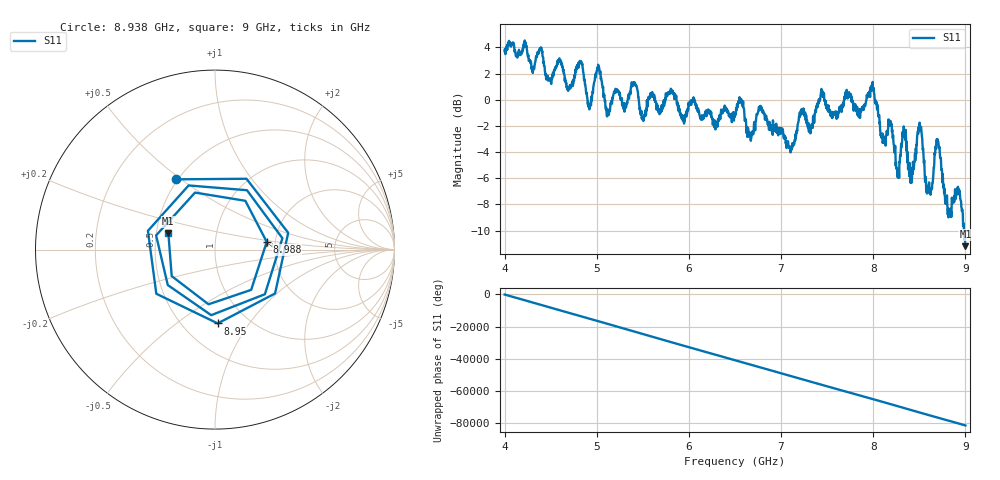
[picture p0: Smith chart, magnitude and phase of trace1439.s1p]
! Created with skrf 1.8.0 (http://scikit-rf.org).
# Hz S RI R 50.0
!freq ReS11 ImS11
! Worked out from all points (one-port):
!   1601 points, 4 GHz to 9 GHz, reference 50 ohm
!   lowest |S11| = -11.2 dB at 9 GHz (marker M1), VSWR 1.76, Z = 29 + j5.75 ohm
!   |S11| at or under -10 dB: 8.984529 GHz to end of sweep
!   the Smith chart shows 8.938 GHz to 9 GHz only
!   S11 on the Smith chart (normalised r, x): 8.938 GHz: 0.49, +0.48; 8.95 GHz: 0.73, -0.72; 8.988 GHz: 1.80, +0.17; 9 GHz: 0.58, +0.12
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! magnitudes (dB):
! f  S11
! 4 GHz  3.7
! 4.625 GHz  2.5
! 4.697 GHz  0.9
! 4.825 GHz  2.9
! 4.922 GHz  -0.6
! 5.012 GHz  2.4
! 5.119 GHz  -1.1
! 5.25 GHz  0.5
! 5.875 GHz  -0.2
! 6.5 GHz  -1.2
! 7.125 GHz  -3.5
! 7.441 GHz  0.5
! 7.75 GHz  0.4
! 7.988 GHz  0.8
! 8.103 GHz  -3.3
! 8.191 GHz  -1.8
! 8.262 GHz  -5.6
! 8.328 GHz  -2.8
! 8.375 GHz  -4.3
! 8.425 GHz  -5.2
! 8.506 GHz  -2.2
! 8.6 GHz  -7.0
! 8.697 GHz  -3.0
! 8.822 GHz  -8.7
! 8.938 GHz  -7.0
! 8.95 GHz  -7.7
! 8.988 GHz  -10.7
! 9 GHz  -11.2
